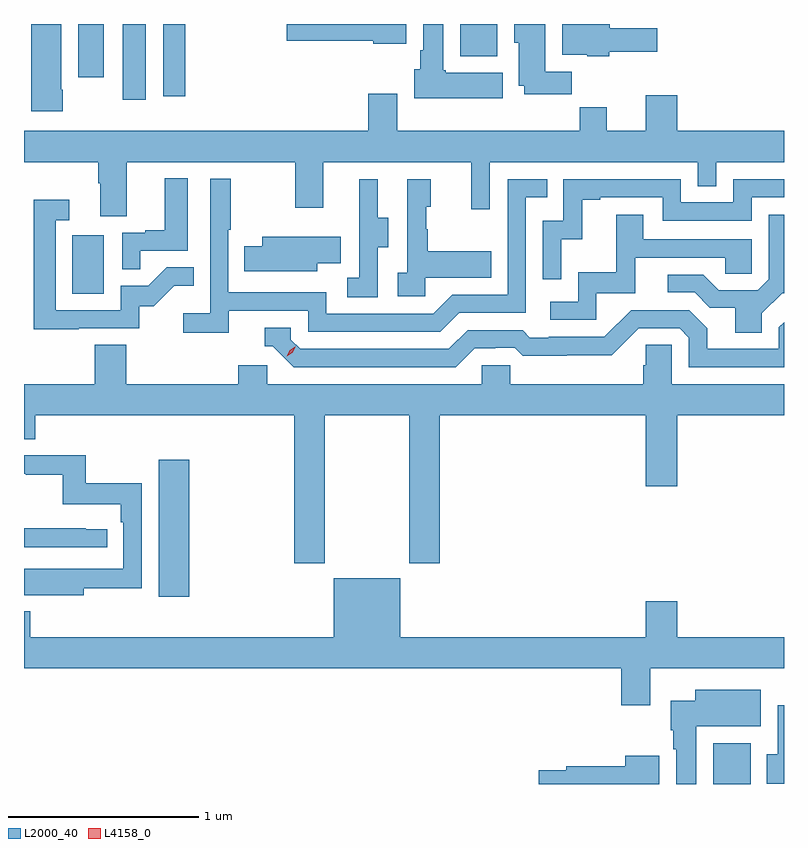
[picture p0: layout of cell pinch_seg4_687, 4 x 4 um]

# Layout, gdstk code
import gdstk
lib = gdstk.Library(unit=1e-6, precision=1e-09)
def R(c, l, rs):  # rectangles x0, y0, x1, y1
    for r in rs: c.add(gdstk.rectangle(r[:2], r[2:], *l))
def P(c, l, *ps):  # polygons
    for p in ps: c.add(gdstk.Polygon(p, *l))
L2000_40 = (2000, 40)
L4158_0 = (4158, 0)

pinch_seg4_687 = lib.new_cell('pinch_seg4_687')
R(pinch_seg4_687, L2000_40, [(1136.39,757.583,1136.587,757.798), (1133.471,758.568,1133.632,759.289), (1133.018,760.164,1133.182,760.471), (1133.282,761.184,1133.404,761.583), (1133.496,761.202,1133.612,761.583), (1133.048,761.304,1133.182,761.583), (1135.058,761.414,1135.255,761.583)])
P(pinch_seg4_687, L2000_40, [(1135.842,761.438),(1136.095,761.438),(1136.095,761.56),(1135.846,761.56),(1135.846,761.583),(1135.595,761.583),(1135.595,761.42),(1135.728,761.42),(1135.728,761.414),(1135.842,761.414)],
  [(1135.282,761.326),(1134.984,761.326),(1134.984,761.34),(1134.97,761.34),(1134.97,761.583),(1134.863,761.583),(1134.863,761.446),(1134.848,761.446),(1134.848,761.346),(1134.818,761.346),(1134.818,761.192),(1135.282,761.192)],
  [(1132.968,761.236),(1132.96,761.236),(1132.96,761.583),(1132.802,761.583),(1132.802,761.124),(1132.968,761.124)],
  [(1134.775,761.583),(1134.146,761.583),(1134.146,761.494),(1134.6,761.494),(1134.6,761.48),(1134.775,761.48)],
  [(1135.646,761.332),(1135.507,761.332),(1135.507,761.583),(1135.343,761.583),(1135.343,761.484),(1135.367,761.484),(1135.367,761.258),(1135.397,761.258),(1135.397,761.214),(1135.646,761.214)],
  [(1133.305,760.856),(1134.19,760.856),(1134.19,760.617),(1134.337,760.617),(1134.337,760.856),(1135.118,760.856),(1135.118,760.608),(1135.215,760.608),(1135.215,760.856),(1136.31,760.856),(1136.31,760.729),(1136.406,760.729),(1136.406,760.856),(1136.763,760.856),(1136.763,761.02),(1136.2,761.02),(1136.2,761.209),(1136.036,761.209),(1136.036,761.02),(1135.831,761.02),(1135.831,761.144),(1135.687,761.144),(1135.687,761.02),(1134.727,761.02),(1134.727,761.215),(1134.575,761.215),(1134.575,761.02),(1132.763,761.02),(1132.763,760.856),(1133.153,760.856),(1133.153,760.744),(1133.165,760.744),(1133.165,760.57),(1133.305,760.57)],
  [(1133.375,760.389),(1133.626,760.389),(1133.626,760.771),(1133.504,760.771),(1133.504,760.498),(1133.401,760.498),(1133.401,760.485),(1133.28,760.485),(1133.28,760.291),(1133.375,760.291)],
  [(1133.84,760.074),(1134.258,760.074),(1134.258,759.963),(1134.955,759.963),(1135.054,760.062),(1135.404,760.062),(1135.404,760.671),(1135.517,760.671),(1135.517,760.767),(1135.308,760.767),(1135.308,760.158),(1135.017,760.158),(1134.918,760.059),(1134.354,760.059),(1134.354,760.17),(1133.838,760.17),(1133.838,760.501),(1133.851,760.501),(1133.851,760.768),(1133.742,760.768),(1133.742,760.06),(1133.601,760.06),(1133.601,759.958),(1133.84,759.958)],
  [(1135.59,760.451),(1135.7,760.451),(1135.7,760.659),(1135.795,760.659),(1135.795,760.671),(1136.124,760.671),(1136.124,760.548),(1136.592,760.548),(1136.592,760.671),(1136.763,760.671),(1136.763,760.767),(1136.496,760.767),(1136.496,760.644),(1136.22,760.644),(1136.22,760.767),(1135.602,760.767),(1135.602,760.548),(1135.494,760.548),(1135.494,760.239),(1135.59,760.239)],
  [(1134.624,760.408),(1134.679,760.408),(1134.679,760.563),(1134.625,760.563),(1134.625,760.765),(1134.527,760.765),(1134.527,760.551),(1134.528,760.551),(1134.528,760.247),(1134.465,760.247),(1134.465,760.144),(1134.624,760.144)],
  [(1134.876,760.247),(1135.223,760.247),(1135.223,760.387),(1134.889,760.387),(1134.889,760.502),(1134.879,760.502),(1134.879,760.62),(1134.904,760.62),(1134.904,760.765),(1134.78,760.765),(1134.78,760.274),(1134.729,760.274),(1134.729,760.149),(1134.876,760.149)],
  [(1133.051,759.981),(1133.37,759.981),(1133.37,760.098),(1133.446,760.098),(1133.553,760.205),(1133.657,760.205),(1133.657,760.304),(1133.514,760.304),(1133.416,760.206),(1133.271,760.206),(1133.271,760.077),(1132.929,760.077),(1132.929,760.551),(1133.002,760.551),(1133.002,760.657),(1132.813,760.657),(1132.813,759.976),(1133.051,759.976)],
  [(1135.776,760.167),(1135.981,760.167),(1135.981,760.353),(1136.455,760.353),(1136.455,760.269),(1136.592,760.269),(1136.592,760.449),(1136.023,760.449),(1136.023,760.579),(1135.879,760.579),(1135.879,760.276),(1135.68,760.276),(1135.68,760.122),(1135.533,760.122),(1135.533,760.026),(1135.776,760.026)],
  [(1136.647,760.06),(1136.754,760.167),(1136.763,760.167),(1136.763,760.579),(1136.682,760.579),(1136.682,760.239),(1136.625,760.182),(1136.419,760.182),(1136.338,760.263),(1136.151,760.263),(1136.151,760.17),(1136.292,760.17),(1136.372,760.09),(1136.507,760.09),(1136.507,759.958),(1136.647,759.958)],
  [(1134.307,760.325),(1134.431,760.325),(1134.431,760.462),(1134.017,760.462),(1134.017,760.413),(1133.923,760.413),(1133.923,760.283),(1134.307,760.283)],
  [(1135.135,759.876),(1135.242,759.876),(1135.242,759.879),(1135.345,759.879),(1135.387,759.837),(1135.62,759.837),(1135.62,759.839),(1135.856,759.839),(1135.998,759.981),(1136.214,759.981),(1136.262,759.933),(1136.262,759.777),(1136.763,759.777),(1136.763,760.014),(1136.736,759.987),(1136.736,759.873),(1136.359,759.873),(1136.359,759.983),(1136.265,760.077),(1135.959,760.077),(1135.818,759.936),(1135.525,759.936),(1135.525,759.933),(1135.426,759.933),(1135.387,759.972),(1135.098,759.972),(1134.999,759.873),(1134.216,759.873),(1134.168,759.921),(1134.168,759.984),(1134.029,759.984),(1134.029,759.888),(1134.072,759.888),(1134.183,759.777),(1135.036,759.777)],
  [(1134.345,759.524),(1134.79,759.524),(1134.79,758.745),(1134.95,758.745),(1134.95,759.524),(1136.036,759.524),(1136.036,759.15),(1136.2,759.15),(1136.2,759.524),(1136.763,759.524),(1136.763,759.688),(1136.172,759.688),(1136.172,759.896),(1136.035,759.896),(1136.035,759.786),(1136.021,759.786),(1136.021,759.688),(1135.323,759.688),(1135.323,759.786),(1135.173,759.786),(1135.173,759.688),(1134.042,759.688),(1134.042,759.786),(1133.891,759.786),(1133.891,759.688),(1133.3,759.688),(1133.3,759.896),(1133.135,759.896),(1133.135,759.688),(1132.763,759.688),(1132.763,759.397),(1132.823,759.397),(1132.823,759.524),(1134.185,759.524),(1134.185,758.745),(1134.345,758.745)],
  [(1133.077,758.614),(1133.382,758.614),(1133.382,759.166),(1133.089,759.166),(1133.089,759.312),(1132.763,759.312),(1132.763,759.216),(1132.771,759.216),(1132.771,759.211),(1132.968,759.211),(1132.968,759.056),(1133.273,759.056),(1133.273,758.96),(1133.286,758.96),(1133.286,758.715),(1132.973,758.715),(1132.973,758.716),(1132.763,758.716),(1132.763,758.576),(1133.077,758.576)],
  [(1133.2,758.925),(1133.087,758.925),(1133.087,758.93),(1132.763,758.93),(1132.763,758.829),(1133.2,758.829)],
  [(1136.059,758.192),(1136.763,758.192),(1136.763,758.356),(1136.2,758.356),(1136.2,758.545),(1136.036,758.545),(1136.036,758.356),(1134.742,758.356),(1134.742,758.665),(1134.392,758.665),(1134.392,758.356),(1132.796,758.356),(1132.796,758.491),(1132.763,758.491),(1132.763,758.192),(1135.907,758.192),(1135.907,757.998),(1136.059,757.998)],
  [(1136.302,757.886),(1136.641,757.886),(1136.641,758.08),(1136.297,758.08),(1136.297,758.02),(1136.168,758.02),(1136.168,757.866),(1136.18,757.866),(1136.18,757.766),(1136.195,757.766),(1136.195,757.583),(1136.302,757.583)],
  [(1136.763,757.998),(1136.729,757.998),(1136.729,757.74),(1136.672,757.74),(1136.672,757.584),(1136.763,757.584)],
  [(1136.107,757.732),(1135.928,757.732),(1135.928,757.676),(1135.618,757.676),(1135.618,757.656),(1135.472,757.656),(1135.472,757.583),(1136.107,757.583)])
P(pinch_seg4_687, L4158_0, [(1134.146,759.834),(1134.146,759.835),(1134.162,759.867),(1134.192,759.887),(1134.192,759.887),(1134.192,759.887),(1134.176,759.854),(1134.146,759.834)])

lib.write_gds('pinch_seg4_687.gds')
